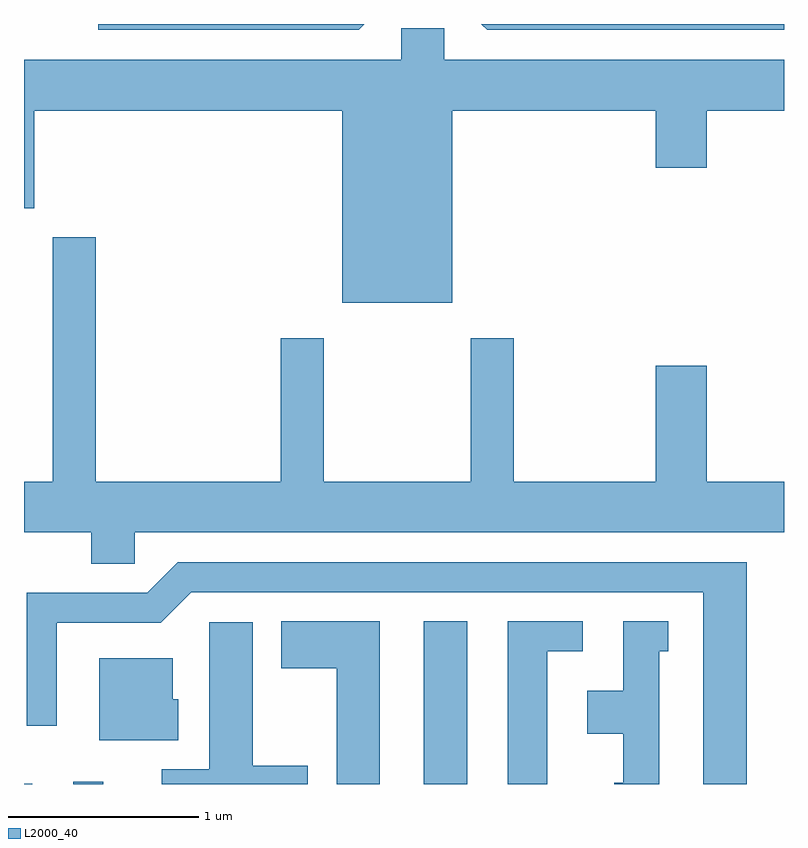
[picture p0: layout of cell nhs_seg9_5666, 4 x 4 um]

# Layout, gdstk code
import gdstk
lib = gdstk.Library(unit=1e-6, precision=1e-09)
def R(c, l, rs):  # rectangles x0, y0, x1, y1
    for r in rs: c.add(gdstk.rectangle(r[:2], r[2:], *l))
def P(c, l, *ps):  # polygons
    for p in ps: c.add(gdstk.Polygon(p, *l))
L2000_40 = (2000, 40)

nhs_seg9_5666 = lib.new_cell('nhs_seg9_5666')
R(nhs_seg9_5666, L2000_40, [(351.611,2050.432,351.654,2050.434), (351.871,2050.432,352.029,2050.443), (353.716,2050.432,353.944,2051.289)])
P(nhs_seg9_5666, L2000_40, [(355.611,2054.432),(354.018,2054.432),(354.049,2054.401),(355.611,2054.401)],
  [(353.403,2054.432),(352.001,2054.432),(352.001,2054.401),(353.372,2054.401)],
  [(353.864,2053.976),(354.936,2053.976),(354.936,2053.676),(355.204,2053.676),(355.204,2053.976),(355.611,2053.976),(355.611,2054.244),(353.824,2054.244),(353.824,2054.409),(353.596,2054.409),(353.596,2054.244),(351.611,2054.244),(351.611,2053.461),(351.664,2053.461),(351.664,2053.976),(353.286,2053.976),(353.286,2052.966),(353.864,2052.966)],
  [(352.194,2051.756),(355.611,2051.756),(355.611,2052.024),(355.204,2052.024),(355.204,2052.634),(354.936,2052.634),(354.936,2052.024),(354.189,2052.024),(354.189,2052.779),(353.961,2052.779),(353.961,2052.024),(353.189,2052.024),(353.189,2052.779),(352.961,2052.779),(352.961,2052.024),(351.989,2052.024),(351.989,2053.309),(351.761,2053.309),(351.761,2052.024),(351.611,2052.024),(351.611,2051.756),(351.966,2051.756),(351.966,2051.591),(352.194,2051.591)],
  [(355.414,2051.599),(352.419,2051.599),(352.259,2051.439),(351.626,2051.439),(351.626,2050.738),(351.784,2050.738),(351.784,2051.281),(352.332,2051.281),(352.492,2051.441),(355.186,2051.441),(355.186,2050.432),(355.414,2050.432)],
  [(354.364,2051.131),(354.553,2051.131),(354.553,2051.289),(354.156,2051.289),(354.156,2050.432),(354.364,2050.432)],
  [(354.954,2051.131),(355.003,2051.131),(355.003,2051.289),(354.766,2051.289),(354.766,2050.924),(354.576,2050.924),(354.576,2050.696),(354.766,2050.696),(354.766,2050.439),(354.718,2050.439),(354.718,2050.432),(354.954,2050.432)],
  [(353.484,2051.289),(352.966,2051.289),(352.966,2051.041),(353.256,2051.041),(353.256,2050.432),(353.484,2050.432)],
  [(353.104,2050.529),(352.814,2050.529),(352.814,2051.284),(352.586,2051.284),(352.586,2050.509),(352.336,2050.509),(352.336,2050.432),(353.104,2050.432)],
  [(352.424,2050.879),(352.394,2050.879),(352.394,2051.094),(352.006,2051.094),(352.006,2050.661),(352.424,2050.661)])

lib.write_gds('nhs_seg9_5666.gds')
